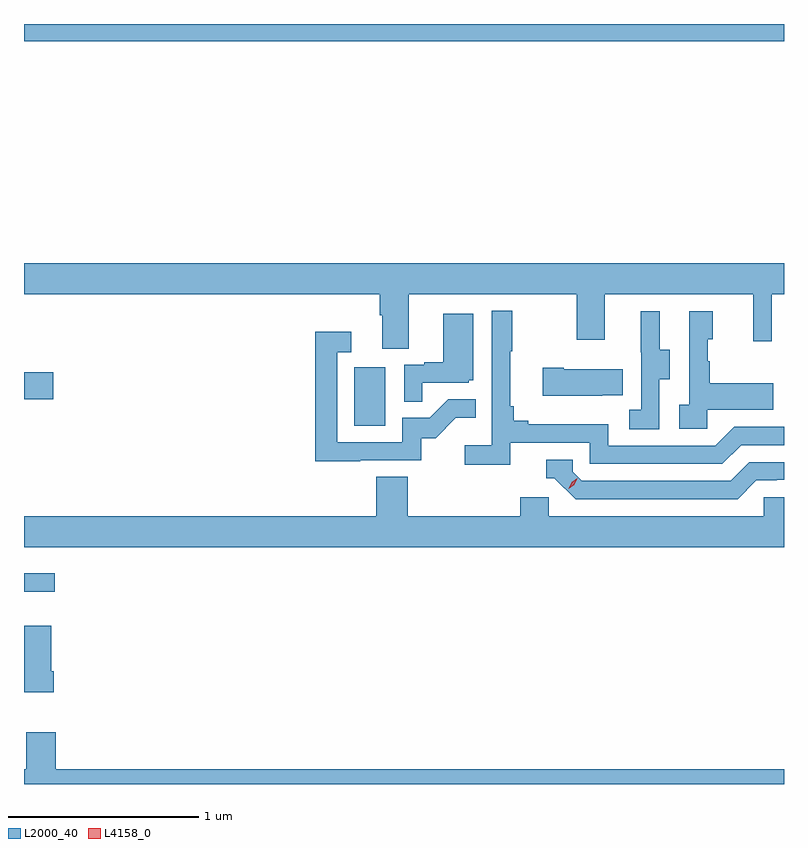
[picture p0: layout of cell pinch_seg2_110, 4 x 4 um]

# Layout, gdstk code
import gdstk
lib = gdstk.Library(unit=1e-6, precision=1e-09)
def R(c, l, rs):  # rectangles x0, y0, x1, y1
    for r in rs: c.add(gdstk.rectangle(r[:2], r[2:], *l))
def P(c, l, *ps):  # polygons
    for p in ps: c.add(gdstk.Polygon(p, *l))
L2000_40 = (2000, 40)
L4158_0 = (4158, 0)

pinch_seg2_110 = lib.new_cell('pinch_seg2_110')
R(pinch_seg2_110, L2000_40, [(1043.59,642.075,1043.752,642.172), (1045.328,642.948,1045.492,643.255), (1043.59,643.088,1043.743,643.23), (1043.59,644.972,1047.59,645.062)])
P(pinch_seg2_110, L2000_40, [(1045.615,643.64),(1046.5,643.64),(1046.5,643.401),(1046.647,643.401),(1046.647,643.64),(1047.428,643.64),(1047.428,643.392),(1047.525,643.392),(1047.525,643.64),(1047.59,643.64),(1047.59,643.804),(1043.59,643.804),(1043.59,643.64),(1045.463,643.64),(1045.463,643.528),(1045.475,643.528),(1045.475,643.354),(1045.615,643.354)],
  [(1046.15,642.858),(1046.568,642.858),(1046.568,642.747),(1047.265,642.747),(1047.364,642.846),(1047.59,642.846),(1047.59,642.942),(1047.327,642.942),(1047.228,642.843),(1046.664,642.843),(1046.664,642.955),(1046.245,642.955),(1046.245,642.974),(1046.168,642.974),(1046.168,643.051),(1046.149,643.051),(1046.149,643.339),(1046.161,643.339),(1046.161,643.552),(1046.052,643.552),(1046.052,642.844),(1045.911,642.844),(1045.911,642.742),(1046.15,642.742)],
  [(1046.934,643.192),(1046.989,643.192),(1046.989,643.347),(1046.935,643.347),(1046.935,643.549),(1046.837,643.549),(1046.837,643.335),(1046.838,643.335),(1046.838,643.031),(1046.775,643.031),(1046.775,642.928),(1046.934,642.928)],
  [(1047.186,643.031),(1047.533,643.031),(1047.533,643.171),(1047.199,643.171),(1047.199,643.286),(1047.189,643.286),(1047.189,643.404),(1047.214,643.404),(1047.214,643.549),(1047.09,643.549),(1047.09,643.058),(1047.039,643.058),(1047.039,642.933),(1047.186,642.933)],
  [(1045.685,643.173),(1045.932,643.173),(1045.932,643.188),(1045.954,643.188),(1045.954,643.537),(1045.796,643.537),(1045.796,643.282),(1045.697,643.282),(1045.697,643.269),(1045.59,643.269),(1045.59,643.075),(1045.685,643.075)],
  [(1045.361,642.765),(1045.68,642.765),(1045.68,642.882),(1045.756,642.882),(1045.863,642.989),(1045.967,642.989),(1045.967,643.088),(1045.823,643.088),(1045.725,642.99),(1045.581,642.99),(1045.581,642.861),(1045.239,642.861),(1045.239,643.335),(1045.312,643.335),(1045.312,643.441),(1045.123,643.441),(1045.123,642.76),(1045.361,642.76)],
  [(1046.633,643.109),(1046.741,643.109),(1046.741,643.246),(1046.431,643.246),(1046.431,643.254),(1046.319,643.254),(1046.319,643.106),(1046.633,643.106)],
  [(1047.445,642.66),(1047.552,642.66),(1047.552,642.663),(1047.59,642.663),(1047.59,642.756),(1047.408,642.756),(1047.309,642.657),(1046.526,642.657),(1046.478,642.705),(1046.478,642.768),(1046.339,642.768),(1046.339,642.672),(1046.382,642.672),(1046.493,642.561),(1047.346,642.561)],
  [(1047.59,642.57),(1047.483,642.57),(1047.483,642.472),(1046.352,642.472),(1046.352,642.57),(1046.201,642.57),(1046.201,642.472),(1045.61,642.472),(1045.61,642.68),(1045.445,642.68),(1045.445,642.472),(1043.59,642.472),(1043.59,642.308),(1047.59,642.308)],
  [(1043.747,641.656),(1043.734,641.656),(1043.734,641.896),(1043.59,641.896),(1043.59,641.544),(1043.747,641.544)],
  [(1043.756,641.335),(1043.603,641.335),(1043.603,641.14),(1043.59,641.14),(1043.59,641.062),(1047.59,641.062),(1047.59,641.14),(1043.756,641.14)])
P(pinch_seg2_110, L4158_0, [(1046.457,642.617),(1046.457,642.618),(1046.472,642.65),(1046.502,642.671),(1046.502,642.671),(1046.502,642.67),(1046.487,642.637),(1046.457,642.617)])

lib.write_gds('pinch_seg2_110.gds')
